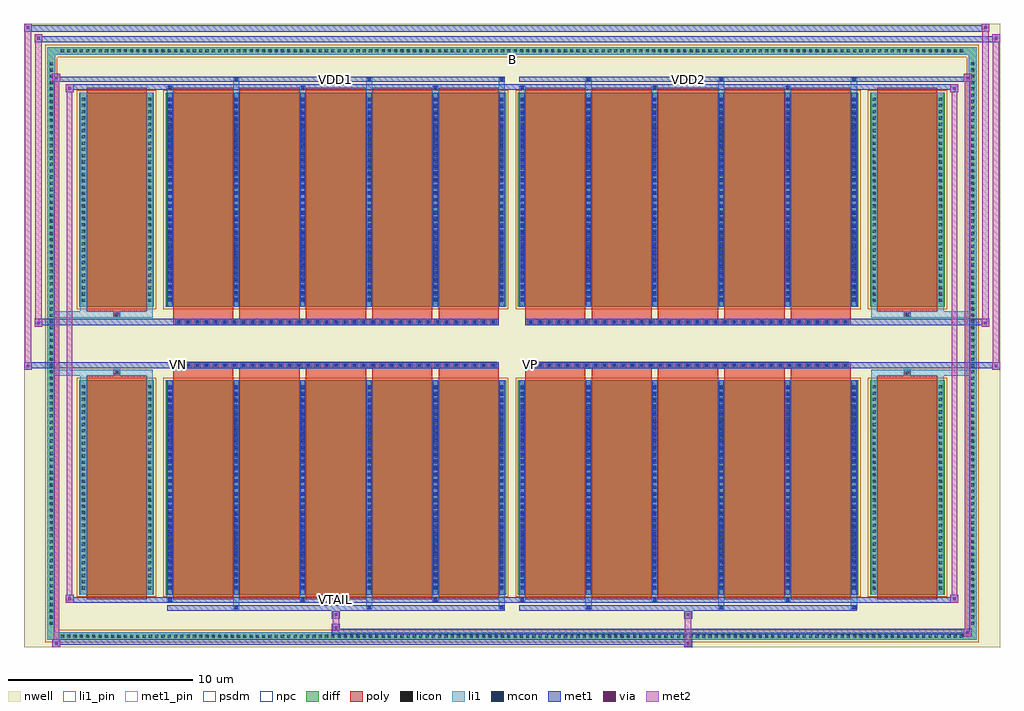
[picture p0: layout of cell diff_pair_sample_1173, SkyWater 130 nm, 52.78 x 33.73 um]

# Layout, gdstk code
import gdstk
lib = gdstk.Library(unit=1e-6, precision=5e-09)
def R(c, l, rs):  # rectangles x0, y0, x1, y1
    for r in rs: c.add(gdstk.rectangle(r[:2], r[2:], *l))
def A(c, l, x, y, w, h, nx, ny, dx, dy):  # array of equal rectangles
    R(c, l, [(x+i*dx, y+j*dy, x+i*dx+w, y+j*dy+h) for i in range(nx) for j in range(ny)])
def P(c, l, *ps):  # polygons
    for p in ps: c.add(gdstk.Polygon(p, *l))
nwell = (64, 20)
diff = (65, 20)
poly = (66, 20)
licon = (66, 44)
li1_pin = (67, 16)
li1 = (67, 20)
mcon = (67, 44)
met1_pin = (68, 16)
met1 = (68, 20)
via = (68, 44)
met2 = (69, 20)
psdm = (94, 20)
npc = (95, 20)

diff_pair_sample_1173 = lib.new_cell('diff_pair_sample_1173')
R(diff_pair_sample_1173, nwell, [(-26.39,-16.43,26.39,17.3), (-23.71,-14.62,-0.01,-0.8), (0.01,-14.62,23.71,-0.8), (-23.71,0.8,-0.01,14.62), (0.01,0.8,23.71,14.62)])
A(diff_pair_sample_1173, diff, -24.515, -16.03, 0.41, 0.41, 144, 2, 0.34, 31.65)
A(diff_pair_sample_1173, diff, -25.12, -15.335, 0.41, 0.41, 1, 90, 0, 0.34)
A(diff_pair_sample_1173, diff, 24.71, -15.335, 0.41, 0.41, 1, 90, 0, 0.34)
R(diff_pair_sample_1173, diff, [(-24.515,-16.03,24.515,-15.62), (-25.12,-15.335,-24.71,15.335), (24.71,-15.335,25.12,15.335), (-23.4,-13.575,-19.36,-1.985), (-18.72,-13.575,-0.32,-1.985), (0.32,-13.575,18.72,-1.985), (19.36,-13.575,23.4,-1.985), (-23.4,1.985,-19.36,13.575), (-18.72,1.985,-0.32,13.575), (0.32,1.985,18.72,13.575), (19.36,1.985,23.4,13.575), (-24.515,15.62,24.515,16.03)])
P(diff_pair_sample_1173, diff, [(25.12,16.03),(-25.12,16.03),(-25.12,-15.62),(-24.71,-15.62),(-24.71,15.62),(24.71,15.62),(24.71,-15.62),(-24.71,-15.62),(-25.12,-15.62),(-25.12,-16.03),(25.12,-16.03)])
A(diff_pair_sample_1173, poly, -18.33, -13.825, 3.26, 12.09, 5, 2, 3.59, 15.56)
A(diff_pair_sample_1173, poly, 0.71, -13.825, 3.26, 12.09, 5, 2, 3.59, 15.56)
A(diff_pair_sample_1173, poly, -18.33, -1.735, 3.26, 0.405, 5, 2, 3.59, 3.065)
A(diff_pair_sample_1173, poly, 0.71, -1.735, 3.26, 0.405, 5, 2, 3.59, 3.065)
A(diff_pair_sample_1173, poly, -18.185, -1.33, 0.33, 0.33, 35, 2, 0.5, 2.33)
A(diff_pair_sample_1173, poly, 0.855, -1.33, 0.33, 0.33, 35, 2, 0.5, 2.33)
R(diff_pair_sample_1173, poly, [(-23.01,-13.825,-19.75,-1.735), (19.75,-13.825,23.01,-1.735), (-21.545,-1.735,-21.215,-1.405), (-21.545,-1.735,-21.215,-1.405), (21.215,-1.735,21.545,-1.405), (21.215,-1.735,21.545,-1.405), (-18.33,-1.33,-0.71,-1), (0.71,-1.33,18.33,-1), (-18.33,1,-0.71,1.33), (0.71,1,18.33,1.33), (-21.545,1.405,-21.215,1.735), (-21.545,1.405,-21.215,1.735), (21.215,1.405,21.545,1.735), (21.215,1.405,21.545,1.735), (-23.01,1.735,-19.75,13.825), (19.75,1.735,23.01,13.825)])
A(diff_pair_sample_1173, licon, -24.395, -15.91, 0.17, 0.17, 144, 2, 0.34, 31.65)
A(diff_pair_sample_1173, licon, -25, -15.215, 0.17, 0.17, 1, 90, 0, 0.34)
A(diff_pair_sample_1173, licon, 24.83, -15.215, 0.17, 0.17, 1, 90, 0, 0.34)
A(diff_pair_sample_1173, licon, -23.26, -13.305, 0.17, 0.17, 1, 33, 0, 0.34)
A(diff_pair_sample_1173, licon, -19.67, -13.305, 0.17, 0.17, 1, 33, 0, 0.34)
A(diff_pair_sample_1173, licon, -18.58, -13.305, 0.17, 0.17, 6, 33, 3.59, 0.34)
A(diff_pair_sample_1173, licon, 0.46, -13.305, 0.17, 0.17, 6, 33, 3.59, 0.34)
A(diff_pair_sample_1173, licon, 19.5, -13.305, 0.17, 0.17, 1, 33, 0, 0.34)
A(diff_pair_sample_1173, licon, 23.09, -13.305, 0.17, 0.17, 1, 33, 0, 0.34)
A(diff_pair_sample_1173, licon, -18.105, -1.25, 0.17, 0.17, 35, 2, 0.5, 2.33)
A(diff_pair_sample_1173, licon, 0.935, -1.25, 0.17, 0.17, 35, 2, 0.5, 2.33)
A(diff_pair_sample_1173, licon, -23.26, 2.255, 0.17, 0.17, 1, 33, 0, 0.34)
A(diff_pair_sample_1173, licon, -19.67, 2.255, 0.17, 0.17, 1, 33, 0, 0.34)
A(diff_pair_sample_1173, licon, -18.58, 2.255, 0.17, 0.17, 6, 33, 3.59, 0.34)
A(diff_pair_sample_1173, licon, 0.46, 2.255, 0.17, 0.17, 6, 33, 3.59, 0.34)
A(diff_pair_sample_1173, licon, 19.5, 2.255, 0.17, 0.17, 1, 33, 0, 0.34)
A(diff_pair_sample_1173, licon, 23.09, 2.255, 0.17, 0.17, 1, 33, 0, 0.34)
R(diff_pair_sample_1173, licon, [(-21.465,-1.655,-21.295,-1.485), (21.295,-1.655,21.465,-1.485), (-21.465,1.485,-21.295,1.655), (21.295,1.485,21.465,1.655)])
R(diff_pair_sample_1173, li1_pin, [(-0.25,15.12,0.25,15.62)])
A(diff_pair_sample_1173, li1, -24.475, -15.99, 0.33, 0.33, 144, 2, 0.34, 31.65)
A(diff_pair_sample_1173, li1, -25.08, -15.295, 0.33, 0.33, 1, 90, 0, 0.34)
A(diff_pair_sample_1173, li1, 24.75, -15.295, 0.33, 0.33, 1, 90, 0, 0.34)
A(diff_pair_sample_1173, li1, -15.07, -14.38, 0.33, 0.805, 3, 2, 7.18, 27.955)
A(diff_pair_sample_1173, li1, -14.99, -14.38, 0.17, 0.17, 3, 2, 7.18, 28.59)
A(diff_pair_sample_1173, li1, 3.97, -14.38, 0.33, 0.805, 3, 2, 7.18, 27.955)
A(diff_pair_sample_1173, li1, 4.05, -14.38, 0.17, 0.17, 3, 2, 7.18, 28.59)
A(diff_pair_sample_1173, li1, -18.66, -13.95, 0.33, 0.375, 3, 2, 7.18, 27.525)
A(diff_pair_sample_1173, li1, -18.58, -13.95, 0.17, 0.17, 3, 2, 7.18, 27.73)
A(diff_pair_sample_1173, li1, 0.38, -13.95, 0.33, 0.375, 3, 2, 7.18, 27.525)
A(diff_pair_sample_1173, li1, 0.46, -13.95, 0.17, 0.17, 3, 2, 7.18, 27.73)
A(diff_pair_sample_1173, li1, -18.66, -13.575, 0.33, 11.59, 6, 2, 3.59, 15.56)
A(diff_pair_sample_1173, li1, 0.38, -13.575, 0.33, 11.59, 6, 2, 3.59, 15.56)
A(diff_pair_sample_1173, li1, -23.34, -13.385, 0.33, 0.33, 1, 33, 0, 0.34)
A(diff_pair_sample_1173, li1, -19.75, -13.385, 0.33, 0.33, 1, 33, 0, 0.34)
A(diff_pair_sample_1173, li1, -18.66, -13.385, 0.33, 0.33, 6, 33, 3.59, 0.34)
A(diff_pair_sample_1173, li1, 0.38, -13.385, 0.33, 0.33, 6, 33, 3.59, 0.34)
A(diff_pair_sample_1173, li1, 19.42, -13.385, 0.33, 0.33, 1, 33, 0, 0.34)
A(diff_pair_sample_1173, li1, 23.01, -13.385, 0.33, 0.33, 1, 33, 0, 0.34)
A(diff_pair_sample_1173, li1, -18.58, -13.265, 0.17, 0.17, 6, 31, 3.59, 0.36)
A(diff_pair_sample_1173, li1, -18.58, -13.265, 0.17, 10.97, 6, 2, 3.59, 15.56)
A(diff_pair_sample_1173, li1, 0.46, -13.265, 0.17, 0.17, 6, 31, 3.59, 0.36)
A(diff_pair_sample_1173, li1, 0.46, -13.265, 0.17, 10.97, 6, 2, 3.59, 15.56)
A(diff_pair_sample_1173, li1, -18.185, -1.33, 0.33, 0.33, 35, 2, 0.5, 2.33)
A(diff_pair_sample_1173, li1, 0.855, -1.33, 0.33, 0.33, 35, 2, 0.5, 2.33)
A(diff_pair_sample_1173, li1, -23.34, 2.175, 0.33, 0.33, 1, 33, 0, 0.34)
A(diff_pair_sample_1173, li1, -19.75, 2.175, 0.33, 0.33, 1, 33, 0, 0.34)
A(diff_pair_sample_1173, li1, -18.66, 2.175, 0.33, 0.33, 6, 33, 3.59, 0.34)
A(diff_pair_sample_1173, li1, 0.38, 2.175, 0.33, 0.33, 6, 33, 3.59, 0.34)
A(diff_pair_sample_1173, li1, 19.42, 2.175, 0.33, 0.33, 1, 33, 0, 0.34)
A(diff_pair_sample_1173, li1, 23.01, 2.175, 0.33, 0.33, 1, 33, 0, 0.34)
A(diff_pair_sample_1173, li1, -18.58, 2.295, 0.17, 0.17, 6, 31, 3.59, 0.36)
A(diff_pair_sample_1173, li1, 0.46, 2.295, 0.17, 0.17, 6, 31, 3.59, 0.36)
R(diff_pair_sample_1173, li1, [(-25.12,-16.03,-24.71,-15.62), (-25.12,-16.03,-24.71,-15.62), (-24.71,-16.03,24.71,-15.62), (24.71,-16.03,25.12,-15.62), (24.71,-16.03,25.12,-15.62), (-25.12,-15.62,-24.71,15.62), (24.71,-15.62,25.12,15.62), (-23.34,-13.575,-23.01,-1.985), (-19.75,-13.575,-19.42,-1.985), (19.42,-13.575,19.75,-1.985), (23.01,-13.575,23.34,-1.985), (-23.34,-1.985,-23.01,-1.405), (-19.75,-1.985,-19.42,-1.405), (19.42,-1.985,19.75,-1.405), (23.01,-1.985,23.34,-1.405), (-25.12,-1.735,-21.545,-1.405), (-23.34,-1.735,-21.545,-1.405), (-21.545,-1.735,-21.215,-1.405), (-21.215,-1.735,-19.42,-1.405), (19.42,-1.735,21.215,-1.405), (21.215,-1.735,21.545,-1.405), (21.215,-1.735,25.12,-1.405), (21.545,-1.735,23.34,-1.405), (-25.12,1.405,-21.545,1.735), (-23.34,1.405,-21.545,1.735), (-23.34,1.405,-23.01,1.985), (-21.545,1.405,-21.215,1.735), (-21.215,1.405,-19.42,1.735), (-19.75,1.405,-19.42,1.985), (19.42,1.405,21.215,1.735), (19.42,1.405,19.75,1.985), (21.215,1.405,21.545,1.735), (21.215,1.405,25.12,1.735), (21.545,1.405,23.34,1.735), (23.01,1.405,23.34,1.985), (-23.34,1.985,-23.01,13.575), (-19.75,1.985,-19.42,13.575), (19.42,1.985,19.75,13.575), (23.01,1.985,23.34,13.575), (-25.12,15.62,-24.71,16.03), (-25.12,15.62,-24.71,16.03), (-24.71,15.62,24.71,16.03), (24.71,15.62,25.12,16.03), (24.71,15.62,25.12,16.03)])
A(diff_pair_sample_1173, mcon, -14.99, -14.38, 0.17, 0.17, 3, 2, 7.18, 28.59)
A(diff_pair_sample_1173, mcon, 4.05, -14.38, 0.17, 0.17, 3, 2, 7.18, 28.59)
A(diff_pair_sample_1173, mcon, -18.58, -13.95, 0.17, 0.17, 3, 2, 7.18, 27.73)
A(diff_pair_sample_1173, mcon, 0.46, -13.95, 0.17, 0.17, 3, 2, 7.18, 27.73)
A(diff_pair_sample_1173, mcon, -18.58, -13.265, 0.17, 0.17, 6, 31, 3.59, 0.36)
A(diff_pair_sample_1173, mcon, 0.46, -13.265, 0.17, 0.17, 6, 31, 3.59, 0.36)
A(diff_pair_sample_1173, mcon, -18.105, -1.25, 0.17, 0.17, 35, 2, 0.5, 2.33)
A(diff_pair_sample_1173, mcon, 0.935, -1.25, 0.17, 0.17, 35, 2, 0.5, 2.33)
A(diff_pair_sample_1173, mcon, -18.58, 2.295, 0.17, 0.17, 6, 31, 3.59, 0.36)
A(diff_pair_sample_1173, mcon, 0.46, 2.295, 0.17, 0.17, 6, 31, 3.59, 0.36)
R(diff_pair_sample_1173, met1_pin, [(-9.655,-13.99,-9.385,-13.72), (-18.155,-1.29,-17.885,-1.02), (0.885,-1.29,1.155,-1.02), (-9.655,14.17,-9.385,14.44), (9.385,14.17,9.655,14.44)])
A(diff_pair_sample_1173, met1, -15.05, -14.44, 0.29, 0.29, 3, 2, 7.18, 28.59)
A(diff_pair_sample_1173, met1, 3.99, -14.44, 0.29, 0.29, 3, 2, 7.18, 28.59)
A(diff_pair_sample_1173, met1, -18.64, -14.01, 0.29, 0.29, 3, 2, 7.18, 27.73)
A(diff_pair_sample_1173, met1, 0.4, -14.01, 0.29, 0.29, 3, 2, 7.18, 27.73)
A(diff_pair_sample_1173, met1, -18.64, -13.575, 0.29, 11.59, 6, 2, 3.59, 15.56)
A(diff_pair_sample_1173, met1, 0.4, -13.575, 0.29, 11.59, 6, 2, 3.59, 15.56)
A(diff_pair_sample_1173, met1, -18.64, -13.325, 0.29, 0.29, 6, 31, 3.59, 0.36)
A(diff_pair_sample_1173, met1, 0.4, -13.325, 0.29, 0.29, 6, 31, 3.59, 0.36)
A(diff_pair_sample_1173, met1, -18.165, -1.31, 0.29, 0.29, 35, 2, 0.5, 2.33)
A(diff_pair_sample_1173, met1, 0.875, -1.31, 0.29, 0.29, 35, 2, 0.5, 2.33)
A(diff_pair_sample_1173, met1, -18.64, 2.235, 0.29, 0.29, 6, 31, 3.59, 0.36)
A(diff_pair_sample_1173, met1, 0.4, 2.235, 0.29, 0.29, 6, 31, 3.59, 0.36)
R(diff_pair_sample_1173, met1, [(-24.85,-16.43,-24.42,-16), (9.305,-16.43,9.735,-16), (-24.85,-16.29,9.735,-16), (24.42,-15.86,24.85,-15.43), (-9.735,-15.72,24.85,-15.43), (-9.735,-15.58,-9.305,-15.15), (-9.735,-14.87,-9.305,-14.44), (9.305,-14.87,9.735,-14.44), (-18.64,-14.44,-0.4,-14.15), (0.4,-14.44,18.64,-14.15), (-24.14,-14.01,-23.71,-13.58), (-24.14,-14.01,-18.64,-13.72), (-18.64,-14.01,-0.4,-13.72), (-0.4,-14.01,0.4,-13.72), (0.4,-14.01,18.64,-13.72), (18.64,-14.01,24.14,-13.72), (23.71,-14.01,24.14,-13.58), (-26.39,-1.43,-25.96,-1), (25.96,-1.43,26.39,-1), (-26.39,-1.33,-0.71,-1), (-18.33,-1.33,-0.71,-1), (0.71,-1.33,18.33,-1), (0.71,-1.33,26.39,-1), (-25.82,0.9,-25.39,1.33), (25.39,0.9,25.82,1.33), (-25.82,1,-18.33,1.33), (-18.33,1,-0.71,1.33), (0.71,1,18.33,1.33), (18.33,1,25.82,1.33), (-24.14,13.58,-23.71,14.01), (23.71,13.58,24.14,14.01), (-24.14,13.72,-18.64,14.01), (-18.64,13.72,-0.4,14.01), (-0.4,13.72,0.4,14.01), (0.4,13.72,18.64,14.01), (18.64,13.72,24.14,14.01), (-24.85,14.15,-24.42,14.58), (-24.85,14.15,-18.64,14.44), (-18.64,14.15,-0.4,14.44), (0.4,14.15,18.64,14.44), (18.64,14.15,24.85,14.44), (24.42,14.15,24.85,14.58), (-25.82,16.3,-25.39,16.73), (-25.82,16.3,-23.71,16.63), (-23.71,16.3,23.71,16.63), (23.71,16.3,26.39,16.63), (25.96,16.3,26.39,16.73), (-26.39,16.87,-25.96,17.3), (-26.39,16.87,-23.71,17.2), (-23.71,16.87,23.71,17.2), (23.71,16.87,25.82,17.2), (25.39,16.87,25.82,17.3)])
R(diff_pair_sample_1173, via, [(-24.71,-16.29,-24.56,-16.14), (9.445,-16.29,9.595,-16.14), (24.56,-15.72,24.71,-15.57), (-9.595,-15.44,-9.445,-15.29), (-9.595,-14.73,-9.445,-14.58), (9.445,-14.73,9.595,-14.58), (-24,-13.87,-23.85,-13.72), (23.85,-13.87,24,-13.72), (-26.25,-1.29,-26.1,-1.14), (26.1,-1.29,26.25,-1.14), (-25.68,1.04,-25.53,1.19), (25.53,1.04,25.68,1.19), (-24,13.72,-23.85,13.87), (23.85,13.72,24,13.87), (-24.71,14.29,-24.56,14.44), (24.56,14.29,24.71,14.44), (-25.68,16.44,-25.53,16.59), (26.1,16.44,26.25,16.59), (-26.25,17.01,-26.1,17.16), (25.53,17.01,25.68,17.16)])
R(diff_pair_sample_1173, met2, [(-24.85,-16.43,-24.42,-16), (-24.78,-16.43,-24.49,14.58), (-24.49,-16.43,-24.42,-16), (-24.8,-16.38,-24.47,-16.05), (9.355,-16.38,9.685,-16.05), (9.355,-16.05,9.685,-14.82), (24.42,-15.86,24.85,-15.43), (24.49,-15.86,24.78,14.58), (24.78,-15.86,24.85,-15.43), (24.47,-15.81,24.8,-15.48), (-9.685,-15.53,-9.355,-15.2), (-9.685,-15.2,-9.355,-14.82), (-9.685,-14.82,-9.355,-14.49), (9.355,-14.82,9.685,-14.49), (-24.14,-14.01,-23.71,-13.58), (-24.07,-14.01,-23.78,14.01), (-23.78,-14.01,-23.71,-13.58), (23.71,-14.01,24.14,-13.58), (23.78,-14.01,24.07,14.01), (24.07,-14.01,24.14,-13.58), (-24.09,-13.96,-23.76,-13.63), (23.76,-13.96,24.09,-13.63), (-26.39,-1.43,-25.96,-1), (-26.34,-1.43,-26.01,17.3), (-26.01,-1.43,-25.96,-1), (25.96,-1.43,26.39,-1), (26.01,-1.43,26.34,16.73), (26.34,-1.43,26.39,-1), (-26.34,-1.38,-26.01,-1.05), (26.01,-1.38,26.34,-1.05), (-25.82,0.9,-25.39,1.33), (-25.77,0.9,-25.44,16.73), (-25.44,0.9,-25.39,1.33), (25.39,0.9,25.82,1.33), (25.44,0.9,25.77,17.3), (25.77,0.9,25.82,1.33), (-25.77,0.95,-25.44,1.28), (25.44,0.95,25.77,1.28), (-24.14,13.58,-23.71,14.01), (-23.78,13.58,-23.71,14.01), (23.71,13.58,24.14,14.01), (24.07,13.58,24.14,14.01), (-24.09,13.63,-23.76,13.96), (23.76,13.63,24.09,13.96), (-24.85,14.15,-24.42,14.58), (-24.49,14.15,-24.42,14.58), (24.42,14.15,24.85,14.58), (24.78,14.15,24.85,14.58), (-24.8,14.2,-24.47,14.53), (24.47,14.2,24.8,14.53), (-25.82,16.3,-25.39,16.73), (-25.44,16.3,-25.39,16.73), (25.96,16.3,26.39,16.73), (26.34,16.3,26.39,16.73), (-25.77,16.35,-25.44,16.68), (26.01,16.35,26.34,16.68), (-26.39,16.87,-25.96,17.3), (-26.01,16.87,-25.96,17.3), (25.39,16.87,25.82,17.3), (25.77,16.87,25.82,17.3), (-26.34,16.92,-26.01,17.25), (25.44,16.92,25.77,17.25)])
R(diff_pair_sample_1173, psdm, [(-23.53,-13.705,-19.23,-1.855), (-18.85,-13.705,-0.19,-1.855), (0.19,-13.705,18.85,-1.855), (19.23,-13.705,23.53,-1.855), (-23.53,1.855,-19.23,13.705), (-18.85,1.855,-0.19,13.705), (0.19,1.855,18.85,13.705), (19.23,1.855,23.53,13.705)])
P(diff_pair_sample_1173, psdm, [(25.25,16.16),(-25.25,16.16),(-25.25,-15.49),(-24.58,-15.49),(-24.58,15.49),(24.58,15.49),(24.58,-15.49),(-24.58,-15.49),(-25.25,-15.49),(-25.25,-16.16),(25.25,-16.16)])
A(diff_pair_sample_1173, npc, -18.205, -1.35, 0.37, 0.37, 35, 2, 0.5, 2.33)
A(diff_pair_sample_1173, npc, 0.835, -1.35, 0.37, 0.37, 35, 2, 0.5, 2.33)
R(diff_pair_sample_1173, npc, [(-21.565,-1.755,-21.195,-1.385), (21.195,-1.755,21.565,-1.385), (-18.205,-1.35,-17.335,-0.98), (-18.205,-1.35,-17.335,-0.98), (-17.705,-1.35,-16.835,-0.98), (-17.705,-1.35,-16.835,-0.98), (-17.205,-1.35,-16.335,-0.98), (-17.205,-1.35,-16.335,-0.98), (-16.705,-1.35,-15.835,-0.98), (-16.705,-1.35,-15.835,-0.98), (-16.205,-1.35,-15.335,-0.98), (-16.205,-1.35,-15.335,-0.98), (-15.705,-1.35,-14.835,-0.98), (-15.705,-1.35,-14.835,-0.98), (-15.205,-1.35,-14.335,-0.98), (-15.205,-1.35,-14.335,-0.98), (-14.705,-1.35,-13.835,-0.98), (-14.705,-1.35,-13.835,-0.98), (-14.205,-1.35,-13.335,-0.98), (-14.205,-1.35,-13.335,-0.98), (-13.705,-1.35,-12.835,-0.98), (-13.705,-1.35,-12.835,-0.98), (-13.205,-1.35,-12.335,-0.98), (-13.205,-1.35,-12.335,-0.98), (-12.705,-1.35,-11.835,-0.98), (-12.705,-1.35,-11.835,-0.98), (-12.205,-1.35,-11.335,-0.98), (-12.205,-1.35,-11.335,-0.98), (-11.705,-1.35,-10.835,-0.98), (-11.705,-1.35,-10.835,-0.98), (-11.205,-1.35,-10.335,-0.98), (-11.205,-1.35,-10.335,-0.98), (-10.705,-1.35,-9.835,-0.98), (-10.705,-1.35,-9.835,-0.98), (-10.205,-1.35,-9.335,-0.98), (-10.205,-1.35,-9.335,-0.98), (-9.705,-1.35,-8.835,-0.98), (-9.705,-1.35,-8.835,-0.98), (-9.205,-1.35,-8.335,-0.98), (-9.205,-1.35,-8.335,-0.98), (-8.705,-1.35,-7.835,-0.98), (-8.705,-1.35,-7.835,-0.98), (-8.205,-1.35,-7.335,-0.98), (-8.205,-1.35,-7.335,-0.98), (-7.705,-1.35,-6.835,-0.98), (-7.705,-1.35,-6.835,-0.98), (-7.205,-1.35,-6.335,-0.98), (-7.205,-1.35,-6.335,-0.98), (-6.705,-1.35,-5.835,-0.98), (-6.705,-1.35,-5.835,-0.98), (-6.205,-1.35,-5.335,-0.98), (-6.205,-1.35,-5.335,-0.98), (-5.705,-1.35,-4.835,-0.98), (-5.705,-1.35,-4.835,-0.98), (-5.205,-1.35,-4.335,-0.98), (-5.205,-1.35,-4.335,-0.98), (-4.705,-1.35,-3.835,-0.98), (-4.705,-1.35,-3.835,-0.98), (-4.205,-1.35,-3.335,-0.98), (-4.205,-1.35,-3.335,-0.98), (-3.705,-1.35,-2.835,-0.98), (-3.705,-1.35,-2.835,-0.98), (-3.205,-1.35,-2.335,-0.98), (-3.205,-1.35,-2.335,-0.98), (-2.705,-1.35,-1.835,-0.98), (-2.705,-1.35,-1.835,-0.98), (-2.205,-1.35,-1.335,-0.98), (-2.205,-1.35,-1.335,-0.98), (-1.705,-1.35,-0.835,-0.98), (-1.705,-1.35,-0.835,-0.98), (0.835,-1.35,1.705,-0.98), (0.835,-1.35,1.705,-0.98), (1.335,-1.35,2.205,-0.98), (1.335,-1.35,2.205,-0.98), (1.835,-1.35,2.705,-0.98), (1.835,-1.35,2.705,-0.98), (2.335,-1.35,3.205,-0.98), (2.335,-1.35,3.205,-0.98), (2.835,-1.35,3.705,-0.98), (2.835,-1.35,3.705,-0.98), (3.335,-1.35,4.205,-0.98), (3.335,-1.35,4.205,-0.98), (3.835,-1.35,4.705,-0.98), (3.835,-1.35,4.705,-0.98), (4.335,-1.35,5.205,-0.98), (4.335,-1.35,5.205,-0.98), (4.835,-1.35,5.705,-0.98), (4.835,-1.35,5.705,-0.98), (5.335,-1.35,6.205,-0.98), (5.335,-1.35,6.205,-0.98), (5.835,-1.35,6.705,-0.98), (5.835,-1.35,6.705,-0.98), (6.335,-1.35,7.205,-0.98), (6.335,-1.35,7.205,-0.98), (6.835,-1.35,7.705,-0.98), (6.835,-1.35,7.705,-0.98), (7.335,-1.35,8.205,-0.98), (7.335,-1.35,8.205,-0.98), (7.835,-1.35,8.705,-0.98), (7.835,-1.35,8.705,-0.98), (8.335,-1.35,9.205,-0.98), (8.335,-1.35,9.205,-0.98), (8.835,-1.35,9.705,-0.98), (8.835,-1.35,9.705,-0.98), (9.335,-1.35,10.205,-0.98), (9.335,-1.35,10.205,-0.98), (9.835,-1.35,10.705,-0.98), (9.835,-1.35,10.705,-0.98), (10.335,-1.35,11.205,-0.98), (10.335,-1.35,11.205,-0.98), (10.835,-1.35,11.705,-0.98), (10.835,-1.35,11.705,-0.98), (11.335,-1.35,12.205,-0.98), (11.335,-1.35,12.205,-0.98), (11.835,-1.35,12.705,-0.98), (11.835,-1.35,12.705,-0.98), (12.335,-1.35,13.205,-0.98), (12.335,-1.35,13.205,-0.98), (12.835,-1.35,13.705,-0.98), (12.835,-1.35,13.705,-0.98), (13.335,-1.35,14.205,-0.98), (13.335,-1.35,14.205,-0.98), (13.835,-1.35,14.705,-0.98), (13.835,-1.35,14.705,-0.98), (14.335,-1.35,15.205,-0.98), (14.335,-1.35,15.205,-0.98), (14.835,-1.35,15.705,-0.98), (14.835,-1.35,15.705,-0.98), (15.335,-1.35,16.205,-0.98), (15.335,-1.35,16.205,-0.98), (15.835,-1.35,16.705,-0.98), (15.835,-1.35,16.705,-0.98), (16.335,-1.35,17.205,-0.98), (16.335,-1.35,17.205,-0.98), (16.835,-1.35,17.705,-0.98), (16.835,-1.35,17.705,-0.98), (17.335,-1.35,18.205,-0.98), (17.335,-1.35,18.205,-0.98), (-18.205,0.98,-17.335,1.35), (-18.205,0.98,-17.335,1.35), (-17.705,0.98,-16.835,1.35), (-17.705,0.98,-16.835,1.35), (-17.205,0.98,-16.335,1.35), (-17.205,0.98,-16.335,1.35), (-16.705,0.98,-15.835,1.35), (-16.705,0.98,-15.835,1.35), (-16.205,0.98,-15.335,1.35), (-16.205,0.98,-15.335,1.35), (-15.705,0.98,-14.835,1.35), (-15.705,0.98,-14.835,1.35), (-15.205,0.98,-14.335,1.35), (-15.205,0.98,-14.335,1.35), (-14.705,0.98,-13.835,1.35), (-14.705,0.98,-13.835,1.35), (-14.205,0.98,-13.335,1.35), (-14.205,0.98,-13.335,1.35), (-13.705,0.98,-12.835,1.35), (-13.705,0.98,-12.835,1.35), (-13.205,0.98,-12.335,1.35), (-13.205,0.98,-12.335,1.35), (-12.705,0.98,-11.835,1.35), (-12.705,0.98,-11.835,1.35), (-12.205,0.98,-11.335,1.35), (-12.205,0.98,-11.335,1.35), (-11.705,0.98,-10.835,1.35), (-11.705,0.98,-10.835,1.35), (-11.205,0.98,-10.335,1.35), (-11.205,0.98,-10.335,1.35), (-10.705,0.98,-9.835,1.35), (-10.705,0.98,-9.835,1.35), (-10.205,0.98,-9.335,1.35), (-10.205,0.98,-9.335,1.35), (-9.705,0.98,-8.835,1.35), (-9.705,0.98,-8.835,1.35), (-9.205,0.98,-8.335,1.35), (-9.205,0.98,-8.335,1.35), (-8.705,0.98,-7.835,1.35), (-8.705,0.98,-7.835,1.35), (-8.205,0.98,-7.335,1.35), (-8.205,0.98,-7.335,1.35), (-7.705,0.98,-6.835,1.35), (-7.705,0.98,-6.835,1.35), (-7.205,0.98,-6.335,1.35), (-7.205,0.98,-6.335,1.35), (-6.705,0.98,-5.835,1.35), (-6.705,0.98,-5.835,1.35), (-6.205,0.98,-5.335,1.35), (-6.205,0.98,-5.335,1.35), (-5.705,0.98,-4.835,1.35), (-5.705,0.98,-4.835,1.35), (-5.205,0.98,-4.335,1.35), (-5.205,0.98,-4.335,1.35), (-4.705,0.98,-3.835,1.35), (-4.705,0.98,-3.835,1.35), (-4.205,0.98,-3.335,1.35), (-4.205,0.98,-3.335,1.35), (-3.705,0.98,-2.835,1.35), (-3.705,0.98,-2.835,1.35), (-3.205,0.98,-2.335,1.35), (-3.205,0.98,-2.335,1.35), (-2.705,0.98,-1.835,1.35), (-2.705,0.98,-1.835,1.35), (-2.205,0.98,-1.335,1.35), (-2.205,0.98,-1.335,1.35), (-1.705,0.98,-0.835,1.35), (-1.705,0.98,-0.835,1.35), (0.835,0.98,1.705,1.35), (0.835,0.98,1.705,1.35), (1.335,0.98,2.205,1.35), (1.335,0.98,2.205,1.35), (1.835,0.98,2.705,1.35), (1.835,0.98,2.705,1.35), (2.335,0.98,3.205,1.35), (2.335,0.98,3.205,1.35), (2.835,0.98,3.705,1.35), (2.835,0.98,3.705,1.35), (3.335,0.98,4.205,1.35), (3.335,0.98,4.205,1.35), (3.835,0.98,4.705,1.35), (3.835,0.98,4.705,1.35), (4.335,0.98,5.205,1.35), (4.335,0.98,5.205,1.35), (4.835,0.98,5.705,1.35), (4.835,0.98,5.705,1.35), (5.335,0.98,6.205,1.35), (5.335,0.98,6.205,1.35), (5.835,0.98,6.705,1.35), (5.835,0.98,6.705,1.35), (6.335,0.98,7.205,1.35), (6.335,0.98,7.205,1.35), (6.835,0.98,7.705,1.35), (6.835,0.98,7.705,1.35), (7.335,0.98,8.205,1.35), (7.335,0.98,8.205,1.35), (7.835,0.98,8.705,1.35), (7.835,0.98,8.705,1.35), (8.335,0.98,9.205,1.35), (8.335,0.98,9.205,1.35), (8.835,0.98,9.705,1.35), (8.835,0.98,9.705,1.35), (9.335,0.98,10.205,1.35), (9.335,0.98,10.205,1.35), (9.835,0.98,10.705,1.35), (9.835,0.98,10.705,1.35), (10.335,0.98,11.205,1.35), (10.335,0.98,11.205,1.35), (10.835,0.98,11.705,1.35), (10.835,0.98,11.705,1.35), (11.335,0.98,12.205,1.35), (11.335,0.98,12.205,1.35), (11.835,0.98,12.705,1.35), (11.835,0.98,12.705,1.35), (12.335,0.98,13.205,1.35), (12.335,0.98,13.205,1.35), (12.835,0.98,13.705,1.35), (12.835,0.98,13.705,1.35), (13.335,0.98,14.205,1.35), (13.335,0.98,14.205,1.35), (13.835,0.98,14.705,1.35), (13.835,0.98,14.705,1.35), (14.335,0.98,15.205,1.35), (14.335,0.98,15.205,1.35), (14.835,0.98,15.705,1.35), (14.835,0.98,15.705,1.35), (15.335,0.98,16.205,1.35), (15.335,0.98,16.205,1.35), (15.835,0.98,16.705,1.35), (15.835,0.98,16.705,1.35), (16.335,0.98,17.205,1.35), (16.335,0.98,17.205,1.35), (16.835,0.98,17.705,1.35), (16.835,0.98,17.705,1.35), (17.335,0.98,18.205,1.35), (17.335,0.98,18.205,1.35), (-21.565,1.385,-21.195,1.755), (21.195,1.385,21.565,1.755)])
diff_pair_sample_1173.add(gdstk.Label('VTAIL', (-9.52,-13.855), layer=68, texttype=5))
diff_pair_sample_1173.add(gdstk.Label('VN', (-18.02,-1.155), layer=68, texttype=5))
diff_pair_sample_1173.add(gdstk.Label('VP', (1.02,-1.155), layer=68, texttype=5))
diff_pair_sample_1173.add(gdstk.Label('B', (0,15.37), layer=67, texttype=5))
diff_pair_sample_1173.add(gdstk.Label('VDD2', (9.52,14.305), layer=68, texttype=5))
diff_pair_sample_1173.add(gdstk.Label('VDD1', (-9.52,14.305), layer=68, texttype=5))

lib.write_gds('diff_pair_sample_1173.gds')
